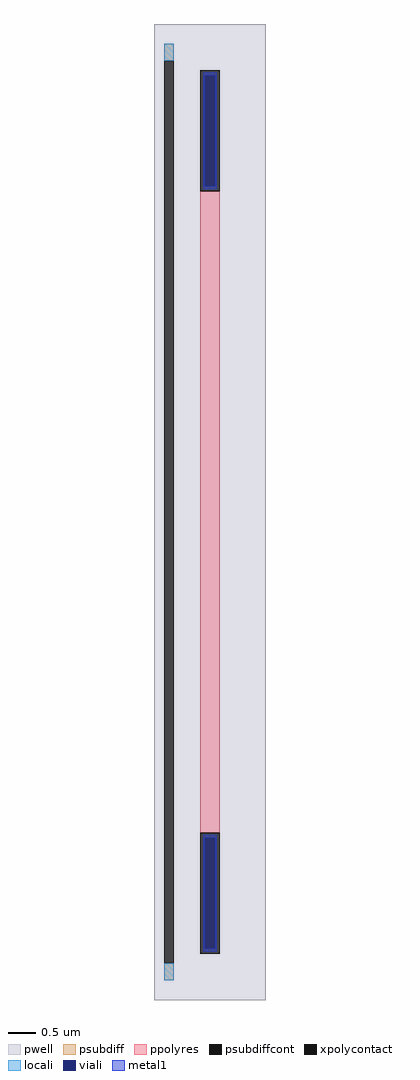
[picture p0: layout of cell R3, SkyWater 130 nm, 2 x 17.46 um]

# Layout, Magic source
magic
tech sky130B
<< pwell >>
rect -100 -873 100 873
<< psubdiff >>
rect -82 807 -65 838
rect -82 -838 -65 -807
<< psubdiffcont >>
rect -82 -807 -65 807
<< xpolycontact >>
rect -17 574 17 790
rect -17 -790 17 -574
<< ppolyres >>
rect -17 -574 17 574
<< locali >>
rect -82 807 -65 838
rect -82 -838 -65 -807
<< viali >>
rect -9 583 9 781
rect -9 -781 9 -583
<< metal1 >>
rect -12 781 12 787
rect -12 583 -9 781
rect 9 583 12 781
rect -12 577 12 583
rect -12 -583 12 -577
rect -12 -781 -9 -583
rect 9 -781 12 -583
rect -12 -787 12 -781
<< properties >>
string FIXED_BBOX -74 -847 74 847
string gencell sky130_fd_pr__res_high_po_0p35
string library sky130
string parameters w 0.35 l 11.65 m 1 nx 1 wmin 0.350 lmin 0.50 rho 319.8 val 11.758k dummy 0 dw 0.0 term 194.82 sterm 0.0 caplen 0 guard 1 glc 1 grc 1 gtc 1 gbc 1 compatible {sky130_fd_pr__res_high_po_0p35  sky130_fd_pr__res_high_po_0p69 sky130_fd_pr__res_high_po_1p41  sky130_fd_pr__res_high_po_2p85 sky130_fd_pr__res_high_po_5p73} snake 0 full_metal 1 wmax 0.350 vias 1 n_guard 0 hv_guard 0 viagb 0 viagt 0 viagl 0 viagr 0
<< end >>
